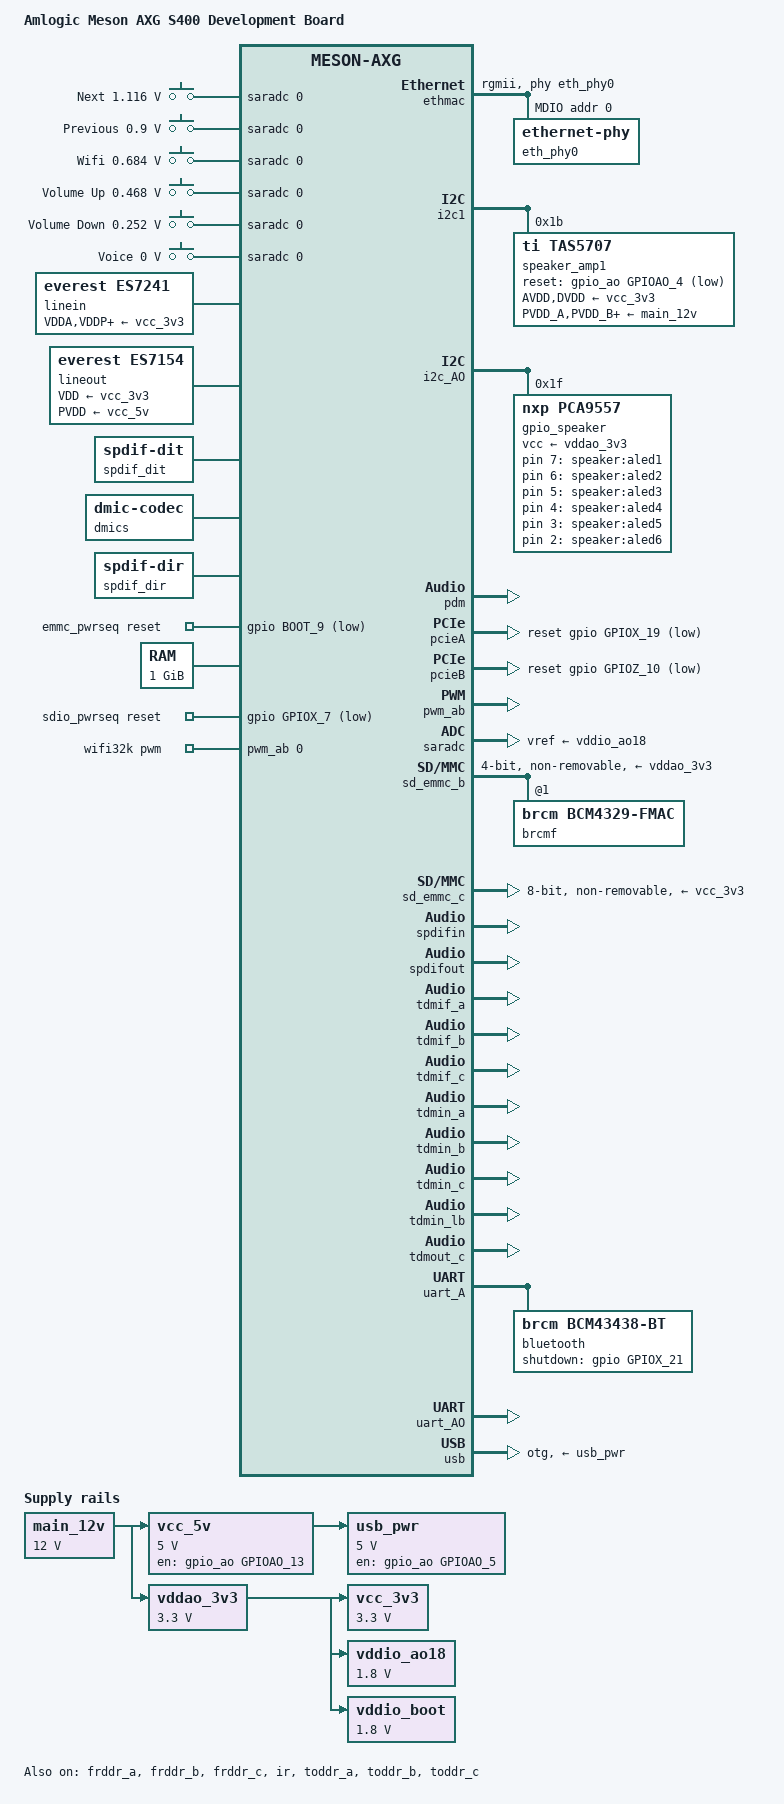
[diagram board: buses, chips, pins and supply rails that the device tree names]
// SPDX-License-Identifier: (GPL-2.0+ OR MIT)
/*
 * Copyright (c) 2017 Amlogic, Inc. All rights reserved.
 */

/dts-v1/;

#include "meson-axg.dtsi"
#include <dt-bindings/input/input.h>

/ {
	compatible = "amlogic,s400", "amlogic,a113d", "amlogic,meson-axg";
	model = "Amlogic Meson AXG S400 Development Board";

	adc_keys {
		compatible = "adc-keys";
		io-channels = <&saradc 0>;
		io-channel-names = "buttons";
		keyup-threshold-microvolt = <1800000>;

		button-next {
			label = "Next";
			linux,code = <KEY_NEXT>;
			press-threshold-microvolt = <1116000>; /* 62% */
		};

		button-prev {
			label = "Previous";
			linux,code = <KEY_PREVIOUS>;
			press-threshold-microvolt = <900000>; /* 50% */
		};

		button-wifi {
			label = "Wifi";
			linux,code = <KEY_WLAN>;
			press-threshold-microvolt = <684000>; /* 38% */
		};

		button-up {
			label = "Volume Up";
			linux,code = <KEY_VOLUMEUP>;
			press-threshold-microvolt = <468000>; /* 26% */
		};

		button-down {
			label = "Volume Down";
			linux,code = <KEY_VOLUMEDOWN>;
			press-threshold-microvolt = <252000>; /* 14% */
		};

		button-voice {
			label = "Voice";
			linux,code = <KEY_VOICECOMMAND>;
			press-threshold-microvolt = <0>; /* 0% */
		};
	};

	aliases {
		serial0 = &uart_AO;
		serial1 = &uart_A;
	};

	linein: audio-codec-0 {
		#sound-dai-cells = <0>;
		compatible = "everest,es7241";
		VDDA-supply = <&vcc_3v3>;
		VDDP-supply = <&vcc_3v3>;
		VDDD-supply = <&vcc_3v3>;
		status = "okay";
		sound-name-prefix = "Linein";
	};

	lineout: audio-codec-1 {
		#sound-dai-cells = <0>;
		compatible = "everest,es7154";
		VDD-supply = <&vcc_3v3>;
		PVDD-supply = <&vcc_5v>;
		status = "okay";
		sound-name-prefix = "Lineout";
	};

	spdif_dit: audio-codec-2 {
		#sound-dai-cells = <0>;
		compatible = "linux,spdif-dit";
		status = "okay";
		sound-name-prefix = "DIT";
	};

	dmics: audio-codec-3 {
		#sound-dai-cells = <0>;
		compatible = "dmic-codec";
		num-channels = <7>;
		wakeup-delay-ms = <50>;
		status = "okay";
		sound-name-prefix = "MIC";
	};

	spdif_dir: audio-codec-4 {
		#sound-dai-cells = <0>;
		compatible = "linux,spdif-dir";
		status = "okay";
		sound-name-prefix = "DIR";
	};

	emmc_pwrseq: emmc-pwrseq {
		compatible = "mmc-pwrseq-emmc";
		reset-gpios = <&gpio BOOT_9 GPIO_ACTIVE_LOW>;
	};

	chosen {
		stdout-path = "serial0:115200n8";
	};

	memory@0 {
		device_type = "memory";
		reg = <0x0 0x0 0x0 0x40000000>;
	};

	main_12v: regulator-main_12v {
		compatible = "regulator-fixed";
		regulator-name = "12V";
		regulator-min-microvolt = <12000000>;
		regulator-max-microvolt = <12000000>;
		regulator-always-on;
	};

	vcc_3v3: regulator-vcc_3v3 {
		compatible = "regulator-fixed";
		regulator-name = "VCC_3V3";
		regulator-min-microvolt = <3300000>;
		regulator-max-microvolt = <3300000>;
		vin-supply = <&vddao_3v3>;
		regulator-always-on;
	};

	vcc_5v: regulator-vcc_5v {
		compatible = "regulator-fixed";
		regulator-name = "VCC5V";
		regulator-min-microvolt = <5000000>;
		regulator-max-microvolt = <5000000>;
		vin-supply = <&main_12v>;

		gpio = <&gpio_ao GPIOAO_13 GPIO_ACTIVE_HIGH>;
		enable-active-high;
	};

	vddao_3v3: regulator-vddao_3v3 {
		compatible = "regulator-fixed";
		regulator-name = "VDDAO_3V3";
		regulator-min-microvolt = <3300000>;
		regulator-max-microvolt = <3300000>;
		vin-supply = <&main_12v>;
		regulator-always-on;
	};

	vddio_ao18: regulator-vddio_ao18 {
		compatible = "regulator-fixed";
		regulator-name = "VDDIO_AO18";
		regulator-min-microvolt = <1800000>;
		regulator-max-microvolt = <1800000>;
		vin-supply = <&vddao_3v3>;
		regulator-always-on;
	};

	vddio_boot: regulator-vddio_boot {
		compatible = "regulator-fixed";
		regulator-name = "VDDIO_BOOT";
		regulator-min-microvolt = <1800000>;
		regulator-max-microvolt = <1800000>;
		vin-supply = <&vddao_3v3>;
		regulator-always-on;
	};

	usb_pwr: regulator-usb_pwr {
		compatible = "regulator-fixed";
		regulator-name = "USB_PWR";
		regulator-min-microvolt = <5000000>;
		regulator-max-microvolt = <5000000>;
		vin-supply = <&vcc_5v>;

		gpio = <&gpio_ao GPIOAO_5 GPIO_ACTIVE_HIGH>;
		enable-active-high;
	};

	sdio_pwrseq: sdio-pwrseq {
		compatible = "mmc-pwrseq-simple";
		reset-gpios = <&gpio GPIOX_7 GPIO_ACTIVE_LOW>;
		clocks = <&wifi32k>;
		clock-names = "ext_clock";
	};

	speaker-leds {
		compatible = "gpio-leds";

		aled1 {
			label = "speaker:aled1";
			gpios = <&gpio_speaker 7 0>;
		};

		aled2 {
			label = "speaker:aled2";
			gpios = <&gpio_speaker 6 0>;
		};

		aled3 {
			label = "speaker:aled3";
			gpios = <&gpio_speaker 5 0>;
		};

		aled4 {
			label = "speaker:aled4";
			gpios = <&gpio_speaker 4 0>;
		};

		aled5 {
			label = "speaker:aled5";
			gpios = <&gpio_speaker 3 0>;
		};

		aled6 {
			label = "speaker:aled6";
			gpios = <&gpio_speaker 2 0>;
		};
	};

	sound {
		compatible = "amlogic,axg-sound-card";
		model = "AXG-S400";
		audio-aux-devs = <&tdmin_a>, <&tdmin_b>,  <&tdmin_c>,
				 <&tdmin_lb>, <&tdmout_c>;
		audio-widgets = "Line", "Lineout",
				"Line", "Linein",
				"Speaker", "Speaker1 Left",
				"Speaker", "Speaker1 Right";
		audio-routing = "TDMOUT_C IN 0", "FRDDR_A OUT 2",
				"SPDIFOUT IN 0", "FRDDR_A OUT 3",
				"TDMOUT_C IN 1", "FRDDR_B OUT 2",
				"SPDIFOUT IN 1", "FRDDR_B OUT 3",
				"TDMOUT_C IN 2", "FRDDR_C OUT 2",
				"SPDIFOUT IN 2", "FRDDR_C OUT 3",
				"TDM_C Playback", "TDMOUT_C OUT",
				"TDMIN_A IN 2", "TDM_C Capture",
				"TDMIN_A IN 5", "TDM_C Loopback",
				"TDMIN_B IN 2", "TDM_C Capture",
				"TDMIN_B IN 5", "TDM_C Loopback",
				"TDMIN_C IN 2", "TDM_C Capture",
				"TDMIN_C IN 5", "TDM_C Loopback",
				"TDMIN_LB IN 2", "TDM_C Loopback",
				"TDMIN_LB IN 5", "TDM_C Capture",
				"TODDR_A IN 0", "TDMIN_A OUT",
				"TODDR_B IN 0", "TDMIN_A OUT",
				"TODDR_C IN 0", "TDMIN_A OUT",
				"TODDR_A IN 1", "TDMIN_B OUT",
				"TODDR_B IN 1", "TDMIN_B OUT",
				"TODDR_C IN 1", "TDMIN_B OUT",
				"TODDR_A IN 2", "TDMIN_C OUT",
				"TODDR_B IN 2", "TDMIN_C OUT",
				"TODDR_C IN 2", "TDMIN_C OUT",
				"TODDR_A IN 3", "SPDIFIN Capture",
				"TODDR_B IN 3", "SPDIFIN Capture",
				"TODDR_C IN 3", "SPDIFIN Capture",
				"TODDR_A IN 4", "PDM Capture",
				"TODDR_B IN 4", "PDM Capture",
				"TODDR_C IN 4", "PDM Capture",
				"TODDR_A IN 6", "TDMIN_LB OUT",
				"TODDR_B IN 6", "TDMIN_LB OUT",
				"TODDR_C IN 6", "TDMIN_LB OUT",
				"Lineout", "Lineout AOUTL",
				"Lineout", "Lineout AOUTR",
				"Speaker1 Left", "SPK1 OUT_A",
				"Speaker1 Left", "SPK1 OUT_B",
				"Speaker1 Right", "SPK1 OUT_C",
				"Speaker1 Right", "SPK1 OUT_D",
				"Linein AINL", "Linein",
				"Linein AINR", "Linein";
		assigned-clocks = <&clkc CLKID_HIFI_PLL>,
				  <&clkc CLKID_MPLL0>,
				  <&clkc CLKID_MPLL1>;
		assigned-clock-parents = <0>, <0>, <0>;
		assigned-clock-rates = <589824000>,
				       <270950400>,
				       <393216000>;

		dai-link-0 {
			sound-dai = <&frddr_a>;
		};

		dai-link-1 {
			sound-dai = <&frddr_b>;
		};

		dai-link-2 {
			sound-dai = <&frddr_c>;
		};

		dai-link-3 {
			sound-dai = <&toddr_a>;
		};

		dai-link-4 {
			sound-dai = <&toddr_b>;
		};

		dai-link-5 {
			sound-dai = <&toddr_c>;
		};

		dai-link-6 {
			sound-dai = <&tdmif_c>;
			dai-format = "i2s";
			dai-tdm-slot-tx-mask-2 = <1 1>;
			dai-tdm-slot-rx-mask-1 = <1 1>;
			mclk-fs = <256>;

			codec-0 {
				sound-dai = <&lineout>;
			};

			codec-1 {
				sound-dai = <&speaker_amp1>;
			};

			codec-2 {
				sound-dai = <&linein>;
			};

		};

		dai-link-7 {
			sound-dai = <&spdifout>;

			codec {
				sound-dai = <&spdif_dit>;
			};
		};

		dai-link-8 {
			sound-dai = <&spdifin>;

			codec {
				sound-dai = <&spdif_dir>;
			};
		};

		dai-link-9 {
			sound-dai = <&pdm>;

			codec {
				sound-dai = <&dmics>;
			};
		};
	};

	wifi32k: wifi32k {
		compatible = "pwm-clock";
		#clock-cells = <0>;
		clock-frequency = <32768>;
		pwms = <&pwm_ab 0 30518 0>; /* PWM_A at 32.768KHz */
	};
};

&ethmac {
	status = "okay";
	pinctrl-0 = <&eth_rgmii_y_pins>;
	pinctrl-names = "default";
	phy-handle = <&eth_phy0>;
	phy-mode = "rgmii";

	mdio {
		compatible = "snps,dwmac-mdio";
		#address-cells = <1>;
		#size-cells = <0>;

		eth_phy0: ethernet-phy@0 {
			/* Realtek RTL8211F (0x001cc916) */
			reg = <0>;
			interrupt-parent = <&gpio_intc>;
			interrupts = <98 IRQ_TYPE_LEVEL_LOW>;
			eee-broken-1000t;
		};
	};
};

&frddr_a {
	status = "okay";
};

&frddr_b {
	status = "okay";
};

&frddr_c {
	status = "okay";
};

&ir {
	status = "okay";
	pinctrl-0 = <&remote_input_ao_pins>;
	pinctrl-names = "default";
};

&i2c1 {
	status = "okay";
	pinctrl-0 = <&i2c1_z_pins>;
	pinctrl-names = "default";

	speaker_amp1: audio-codec@1b {
		compatible = "ti,tas5707";
		reg = <0x1b>;
		reset-gpios = <&gpio_ao GPIOAO_4 GPIO_ACTIVE_LOW>;
		#sound-dai-cells = <0>;
		AVDD-supply = <&vcc_3v3>;
		DVDD-supply = <&vcc_3v3>;
		PVDD_A-supply = <&main_12v>;
		PVDD_B-supply = <&main_12v>;
		PVDD_C-supply = <&main_12v>;
		PVDD_D-supply = <&main_12v>;
		sound-name-prefix = "SPK1";
	};
};

&i2c_AO {
	status = "okay";
	pinctrl-0 = <&i2c_ao_sck_10_pins>, <&i2c_ao_sda_11_pins>;
	pinctrl-names = "default";

	gpio_speaker: gpio-controller@1f {
		compatible = "nxp,pca9557";
		reg = <0x1f>;
		gpio-controller;
		#gpio-cells = <2>;
		vcc-supply = <&vddao_3v3>;
	};
};

&pdm {
	pinctrl-0 = <&pdm_dclk_a14_pins>, <&pdm_din0_pins>,
		    <&pdm_din1_pins>, <&pdm_din2_pins>, <&pdm_din3_pins>;
	pinctrl-names = "default";
	status = "okay";
};

&pcieA {
	reset-gpios = <&gpio GPIOX_19 GPIO_ACTIVE_LOW>;
	status = "okay";
};

&pcieB {
	reset-gpios = <&gpio GPIOZ_10 (GPIO_ACTIVE_LOW | GPIO_OPEN_DRAIN)>;
	status = "okay";
};

&pwm_ab {
	status = "okay";
	pinctrl-0 = <&pwm_a_x20_pins>;
	pinctrl-names = "default";
};

&saradc {
	status = "okay";
	vref-supply = <&vddio_ao18>;
};

/* wifi module */
&sd_emmc_b {
	status = "okay";
	#address-cells = <1>;
	#size-cells = <0>;

	pinctrl-0 = <&sdio_pins>;
	pinctrl-1 = <&sdio_clk_gate_pins>;
	pinctrl-names = "default", "clk-gate";

	bus-width = <4>;
	cap-sd-highspeed;
	sd-uhs-sdr104;
	max-frequency = <200000000>;
	non-removable;
	disable-wp;

	mmc-pwrseq = <&sdio_pwrseq>;

	vmmc-supply = <&vddao_3v3>;
	vqmmc-supply = <&vddio_boot>;

	brcmf: wifi@1 {
		reg = <1>;
		compatible = "brcm,bcm4329-fmac";
	};
};

/* emmc storage */
&sd_emmc_c {
	status = "okay";
	pinctrl-0 = <&emmc_pins>, <&emmc_ds_pins>;
	pinctrl-1 = <&emmc_clk_gate_pins>;
	pinctrl-names = "default", "clk-gate";

	bus-width = <8>;
	cap-mmc-highspeed;
	max-frequency = <200000000>;
	non-removable;
	disable-wp;
	mmc-ddr-1_8v;
	mmc-hs200-1_8v;

	mmc-pwrseq = <&emmc_pwrseq>;

	vmmc-supply = <&vcc_3v3>;
	vqmmc-supply = <&vddio_boot>;
};

&spdifin {
	pinctrl-0 = <&spdif_in_a19_pins>;
	pinctrl-names = "default";
	status = "okay";
};

&spdifout {
	pinctrl-0 = <&spdif_out_a20_pins>;
	pinctrl-names = "default";
	status = "okay";
};

&tdmif_a {
	pinctrl-0 = <&tdma_sclk_pins>, <&tdma_fs_pins>,
		    <&tdma_din0_pins>, <&tdma_dout0_x15_pins>;
	pinctrl-names = "default";
	status = "okay";
};

&tdmif_b {
	pinctrl-0 = <&tdmb_sclk_pins>, <&tdmb_fs_pins>,
		    <&tdmb_din3_pins>, <&mclk_b_pins>;
	pinctrl-names = "default";
	status = "okay";
};

&tdmif_c {
	pinctrl-0 = <&tdmc_sclk_pins>, <&tdmc_fs_pins>,
		    <&tdmc_din1_pins>, <&tdmc_dout2_pins>,
		    <&mclk_c_pins>;
	pinctrl-names = "default";
	status = "okay";
};

&tdmin_a {
	status = "okay";
};

&tdmin_b {
	status = "okay";
};

&tdmin_c {
	status = "okay";
};

&tdmin_lb {
	status = "okay";
};

&tdmout_c {
	status = "okay";
};

&toddr_a {
	status = "okay";
};

&toddr_b {
	status = "okay";
};

&toddr_c {
	status = "okay";
};

&uart_A {
	status = "okay";
	pinctrl-0 = <&uart_a_pins>, <&uart_a_cts_rts_pins>;
	pinctrl-names = "default";
	uart-has-rtscts;

	bluetooth {
		compatible = "brcm,bcm43438-bt";
		shutdown-gpios = <&gpio GPIOX_21 GPIO_ACTIVE_HIGH>;
	};
};

&uart_AO {
	status = "okay";
	pinctrl-0 = <&uart_ao_a_pins>;
	pinctrl-names = "default";
};

&usb {
	status = "okay";
	dr_mode = "otg";
	vbus-supply = <&usb_pwr>;
};
